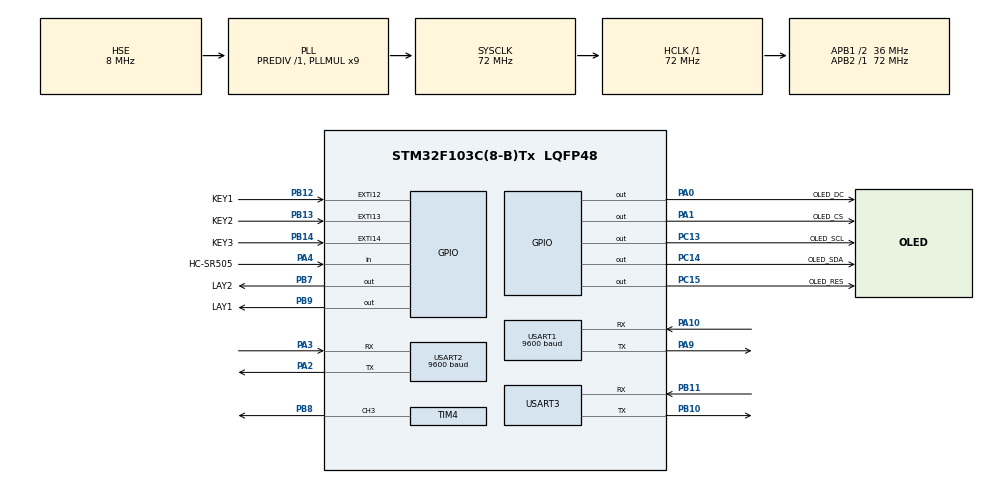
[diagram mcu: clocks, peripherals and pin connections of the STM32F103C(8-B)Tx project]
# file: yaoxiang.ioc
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Dma.Request0=USART3_RX
Dma.USART3_RX.0.Direction=DMA_PERIPH_TO_MEMORY
Dma.USART3_RX.0.Instance=DMA1_Channel3
Dma.USART3_RX.0.MemDataAlignment=DMA_MDATAALIGN_BYTE
Dma.USART3_RX.0.MemInc=DMA_MINC_ENABLE
Dma.USART3_RX.0.Mode=DMA_NORMAL
Dma.USART3_RX.0.PeriphDataAlignment=DMA_PDATAALIGN_BYTE
Dma.USART3_RX.0.PeriphInc=DMA_PINC_DISABLE
Dma.USART3_RX.0.Priority=DMA_PRIORITY_LOW
Mcu.Family=STM32F1
Mcu.Name=STM32F103C(8-B)Tx
Mcu.Package=LQFP48
NVIC.DMA1_Channel3_IRQn=true\:0\:0\:false\:false\:true\:false\:true\:true
NVIC.EXTI15_10_IRQn=true\:3\:0\:true\:false\:true\:true\:true\:true
NVIC.PriorityGroup=NVIC_PRIORITYGROUP_4
NVIC.TIM1_UP_IRQn=true\:4\:0\:true\:false\:true\:true\:true\:true
NVIC.USART1_IRQn=true\:2\:0\:true\:false\:true\:true\:true\:true
NVIC.USART2_IRQn=true\:1\:0\:true\:false\:true\:true\:true\:true
NVIC.USART3_IRQn=true\:0\:0\:true\:false\:true\:true\:true\:true
PA0-WKUP.GPIO_Label=OLED_DC
PA0-WKUP.GPIO_ModeDefaultOutputPP=GPIO_MODE_OUTPUT_PP
PA0-WKUP.GPIO_PuPd=GPIO_PULLUP
PA0-WKUP.GPIO_Speed=GPIO_SPEED_FREQ_HIGH
PA0-WKUP.PinState=GPIO_PIN_SET
PA0-WKUP.Signal=GPIO_Output
PA1.GPIO_Label=OLED_CS
PA1.GPIO_ModeDefaultOutputPP=GPIO_MODE_OUTPUT_PP
PA1.GPIO_PuPd=GPIO_PULLUP
PA1.GPIO_Speed=GPIO_SPEED_FREQ_HIGH
PA1.PinState=GPIO_PIN_SET
PA1.Signal=GPIO_Output
PA10.Mode=Asynchronous
PA10.Signal=USART1_RX
PA13.Mode=Serial_Wire
PA13.Signal=SYS_JTMS-SWDIO
PA14.Mode=Serial_Wire
PA14.Signal=SYS_JTCK-SWCLK
PA2.Mode=Asynchronous
PA2.Signal=USART2_TX
PA3.Mode=Asynchronous
PA3.Signal=USART2_RX
PA4.GPIO_Label=HC-SR505
PA4.GPIO_PuPd=GPIO_PULLDOWN
PA4.Signal=GPIO_Input
PA9.Mode=Asynchronous
PA9.Signal=USART1_TX
PB10.Mode=Asynchronous
PB10.Signal=USART3_TX
PB11.Mode=Asynchronous
PB11.Signal=USART3_RX
PB12.GPIO_Label=KEY1
PB12.GPIO_ModeDefaultEXTI=GPIO_MODE_IT_FALLING
PB12.GPIO_PuPd=GPIO_PULLUP
PB12.Signal=GPXTI12
PB13.GPIO_Label=KEY2
PB13.GPIO_ModeDefaultEXTI=GPIO_MODE_IT_FALLING
PB13.GPIO_PuPd=GPIO_PULLUP
PB13.Signal=GPXTI13
PB14.GPIO_Label=KEY3
PB14.GPIO_ModeDefaultEXTI=GPIO_MODE_IT_FALLING
PB14.GPIO_PuPd=GPIO_PULLUP
PB14.Signal=GPXTI14
PB7.GPIO_Label=LAY2
PB7.GPIO_ModeDefaultOutputPP=GPIO_MODE_OUTPUT_PP
PB7.GPIO_PuPd=GPIO_PULLUP
PB7.GPIO_Speed=GPIO_SPEED_FREQ_HIGH
PB7.PinState=GPIO_PIN_SET
PB7.Signal=GPIO_Output
PB8.Signal=S_TIM4_CH3
PB9.GPIO_Label=LAY1
PB9.GPIO_PuPd=GPIO_PULLUP
PB9.GPIO_Speed=GPIO_SPEED_FREQ_HIGH
PB9.PinState=GPIO_PIN_SET
PB9.Signal=GPIO_Output
PC13-TAMPER-RTC.GPIO_Label=OLED_SCL
PC13-TAMPER-RTC.GPIO_ModeDefaultOutputPP=GPIO_MODE_OUTPUT_PP
PC13-TAMPER-RTC.GPIO_PuPd=GPIO_PULLUP
PC13-TAMPER-RTC.GPIO_Speed=GPIO_SPEED_FREQ_HIGH
PC13-TAMPER-RTC.PinState=GPIO_PIN_SET
PC13-TAMPER-RTC.Signal=GPIO_Output
PC14-OSC32_IN.GPIO_Label=OLED_SDA
PC14-OSC32_IN.GPIO_ModeDefaultOutputPP=GPIO_MODE_OUTPUT_PP
PC14-OSC32_IN.GPIO_PuPd=GPIO_PULLUP
PC14-OSC32_IN.GPIO_Speed=GPIO_SPEED_FREQ_HIGH
PC14-OSC32_IN.PinState=GPIO_PIN_SET
PC14-OSC32_IN.Signal=GPIO_Output
PC15-OSC32_OUT.GPIO_Label=OLED_RES
PC15-OSC32_OUT.GPIO_ModeDefaultOutputPP=GPIO_MODE_OUTPUT_PP
PC15-OSC32_OUT.GPIO_PuPd=GPIO_PULLUP
PC15-OSC32_OUT.GPIO_Speed=GPIO_SPEED_FREQ_HIGH
PC15-OSC32_OUT.PinState=GPIO_PIN_SET
PC15-OSC32_OUT.Signal=GPIO_Output
PD0-OSC_IN.Mode=HSE-External-Oscillator
PD0-OSC_IN.Signal=RCC_OSC_IN
PD1-OSC_OUT.Mode=HSE-External-Oscillator
PD1-OSC_OUT.Signal=RCC_OSC_OUT
ProjectManager.HeapSize=0x200
ProjectManager.StackSize=0x400
ProjectManager.TargetToolchain=MDK-ARM V5
RCC.AHBFreq_Value=72000000
RCC.APB1CLKDivider=RCC_HCLK_DIV2
RCC.APB1Freq_Value=36000000
RCC.APB1TimFreq_Value=72000000
RCC.APB2Freq_Value=72000000
RCC.APB2TimFreq_Value=72000000
RCC.HCLKFreq_Value=72000000
RCC.PLLMUL=RCC_PLL_MUL9
RCC.PLLSourceVirtual=RCC_PLLSOURCE_HSE
RCC.SYSCLKFreq_VALUE=72000000
RCC.SYSCLKSource=RCC_SYSCLKSOURCE_PLLCLK
RCC.USBFreq_Value=72000000
SH.S_TIM4_CH3.0=TIM4_CH3,PWM Generation3 CH3
TIM1.Period=999
TIM1.Prescaler=7199
TIM4.AutoReloadPreload=TIM_AUTORELOAD_PRELOAD_ENABLE
TIM4.Channel-PWM\ Generation3\ CH3=TIM_CHANNEL_3
TIM4.OCPolarity_3=TIM_OCPOLARITY_LOW
TIM4.Period=999
TIM4.Prescaler=7199
USART1.BaudRate=9600
USART1.VirtualMode=VM_ASYNC
USART2.BaudRate=9600
USART2.VirtualMode=VM_ASYNC
USART3.VirtualMode=VM_ASYNC
VP_TIM1_VS_ClockSourceINT.Mode=Internal
VP_TIM4_VS_ClockSourceINT.Mode=Internal
board=custom

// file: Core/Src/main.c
/* USER CODE BEGIN Header */
/**
  ******************************************************************************
  * @file           : main.c
  * @brief          : Main program body
  ******************************************************************************
  * @attention
  *
  * Copyright (c) 2025 STMicroelectronics.
  * All rights reserved.
  *
  * This software is licensed under terms that can be found in the LICENSE file
  * in the root directory of this software component.
  * If no LICENSE file comes with this software, it is provided AS-IS.
  *
  ******************************************************************************
  */
/* USER CODE END Header */
#include "main.h"
#include "dma.h"
#include "tim.h"
#include "usart.h"
#include "gpio.h"

/* USER CODE BEGIN Includes */
#include "oled.h"
#include "esp8266.h"
/* USER CODE END Includes */

void SystemClock_Config(void);

int main(void)
{

  /* USER CODE BEGIN 1 */
	int i_count=0;
		  float num_d;
	char show_data[100];
  bool send_status=false;
			  char show_ds[20];
  /* USER CODE END 1 */

  /* MCU Configuration--------------------------------------------------------*/

  /* Reset of all peripherals, Initializes the Flash interface and the Systick. */
  HAL_Init();

  /* Configure the system clock */
  SystemClock_Config();

  /* Initialize all configured peripherals */
  MX_GPIO_Init();
  MX_DMA_Init();
  MX_TIM4_Init();
  MX_USART1_UART_Init();
  MX_USART2_UART_Init();
  MX_TIM1_Init();
  MX_USART3_UART_Init();
  /* USER CODE BEGIN 2 */
		start_esp8266();
	OLED_Init();
	OLED_ColorTurn(0);
  OLED_DisplayTurn(0);
	OLED_Clear();

  /* USER CODE END 2 */

  /* Infinite loop */
  while (1)
  {

    /* USER CODE BEGIN 3 */
		handle_esp8266();

		if(HAL_GPIO_ReadPin(HC_SR505_GPIO_Port,HC_SR505_Pin)==GPIO_PIN_SET)
		{
				HAL_GPIO_WritePin(LAY2_GPIO_Port,LAY2_Pin,GPIO_PIN_SET);
		}

		if((co2_ppm>200)||(jiaquan>150)||(pm25>100))
		{
				HAL_TIM_PWM_Start(&htim4,TIM_CHANNEL_3);
				__HAL_TIM_SetCompare(&htim4,TIM_CHANNEL_3,300);
			HAL_GPIO_WritePin(LAY1_GPIO_Port,LAY1_Pin,GPIO_PIN_RESET);
		}
		else
		{
//			  if(!key1_status)
//				{
//						HAL_TIM_PWM_Stop(&htim4,TIM_CHANNEL_3);
//					  			HAL_GPIO_WritePin(LAY1_GPIO_Port,LAY1_Pin,GPIO_PIN_SET);
//				}

		}

		i_count++;
		if(i_count==2000000)
		{
			  i_count=0;
			   send_status=!send_status;
			  if(send_status)
				{
						sprintf(show_data,"CO2:%3dppm formaldehyde:%3dug/m3 temp:%.fC humidity:%.2fRH\r\n",co2_ppm,jiaquan,(th_data/10.0),rh_data/10.0);
						send_wifi(show_data,60);
				}
				else
				{
						sprintf(show_data,"PM2.5:%3d mg/m3\r\n",pm25);
						send_wifi(show_data,20);
				}

		}

  }
  /* USER CODE END 3 */
}

void SystemClock_Config(void)
{
  RCC_OscInitTypeDef RCC_OscInitStruct = {0};
  RCC_ClkInitTypeDef RCC_ClkInitStruct = {0};

  /** Initializes the RCC Oscillators according to the specified parameters
  * in the RCC_OscInitTypeDef structure.
  */
  RCC_OscInitStruct.OscillatorType = RCC_OSCILLATORTYPE_HSE;
  RCC_OscInitStruct.HSEState = RCC_HSE_ON;
  RCC_OscInitStruct.HSEPredivValue = RCC_HSE_PREDIV_DIV1;
  RCC_OscInitStruct.HSIState = RCC_HSI_ON;
  RCC_OscInitStruct.PLL.PLLState = RCC_PLL_ON;
  RCC_OscInitStruct.PLL.PLLSource = RCC_PLLSOURCE_HSE;
  RCC_OscInitStruct.PLL.PLLMUL = RCC_PLL_MUL9;
  if (HAL_RCC_OscConfig(&RCC_OscInitStruct) != HAL_OK)
  {
    Error_Handler();
  }

  /** Initializes the CPU, AHB and APB buses clocks
  */
  RCC_ClkInitStruct.ClockType = RCC_CLOCKTYPE_HCLK|RCC_CLOCKTYPE_SYSCLK
                              |RCC_CLOCKTYPE_PCLK1|RCC_CLOCKTYPE_PCLK2;
  RCC_ClkInitStruct.SYSCLKSource = RCC_SYSCLKSOURCE_PLLCLK;
  RCC_ClkInitStruct.AHBCLKDivider = RCC_SYSCLK_DIV1;
  RCC_ClkInitStruct.APB1CLKDivider = RCC_HCLK_DIV2;
  RCC_ClkInitStruct.APB2CLKDivider = RCC_HCLK_DIV1;

  if (HAL_RCC_ClockConfig(&RCC_ClkInitStruct, FLASH_LATENCY_2) != HAL_OK)
  {
    Error_Handler();
  }
}

void Error_Handler(void)
{
  __disable_irq();
  while (1)
  {
  }
}
